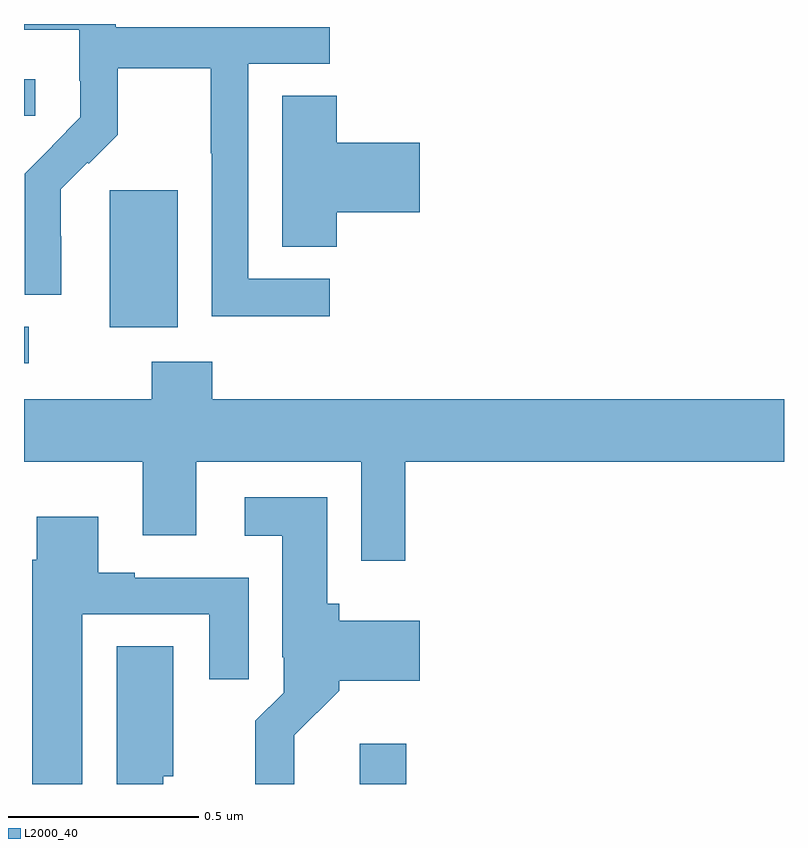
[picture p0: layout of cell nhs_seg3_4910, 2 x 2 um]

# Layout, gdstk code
import gdstk
lib = gdstk.Library(unit=1e-6, precision=1e-09)
def R(c, l, rs):  # rectangles x0, y0, x1, y1
    for r in rs: c.add(gdstk.rectangle(r[:2], r[2:], *l))
def P(c, l, *ps):  # polygons
    for p in ps: c.add(gdstk.Polygon(p, *l))
L2000_40 = (2000, 40)

nhs_seg3_4910 = lib.new_cell('nhs_seg3_4910')
R(nhs_seg3_4910, L2000_40, [(172.883,701.4,173.006,701.506), (172,702.507,172.012,702.603), (172.226,702.602,172.405,702.963), (172,703.158,172.03,703.255)])
P(nhs_seg3_4910, L2000_40, [(172.804,702.729),(172.59,702.729),(172.59,703.296),(172.804,703.296),(172.804,703.392),(172.242,703.392),(172.242,703.4),(172,703.4),(172,703.385),(172.146,703.385),(172.146,703.251),(172.148,703.251),(172.148,703.154),(172.074,703.08),(172.075,703.079),(172.002,703.006),(172.002,702.688),(172.098,702.688),(172.098,702.842),(172.097,702.842),(172.097,702.965),(172.167,703.035),(172.17,703.032),(172.247,703.109),(172.247,703.284),(172.492,703.284),(172.492,703.06),(172.494,703.06),(172.494,702.631),(172.804,702.631)],
  [(172.823,702.905),(173.041,702.905),(173.041,703.088),(172.823,703.088),(172.823,703.211),(172.679,703.211),(172.679,702.814),(172.823,702.814)],
  [(173.003,702.248),(174,702.248),(174,702.412),(172.496,702.412),(172.496,702.511),(172.336,702.511),(172.336,702.412),(172,702.412),(172,702.248),(172.313,702.248),(172.313,702.054),(172.453,702.054),(172.453,702.248),(172.887,702.248),(172.887,701.988),(173.003,701.988)],
  [(172.711,701.528),(172.829,701.646),(172.829,701.672),(173.041,701.672),(173.041,701.83),(172.829,701.83),(172.829,701.874),(172.798,701.874),(172.798,702.154),(172.581,702.154),(172.581,702.053),(172.679,702.053),(172.679,701.734),(172.683,701.734),(172.683,701.64),(172.609,701.566),(172.609,701.4),(172.711,701.4)],
  [(172.153,701.847),(172.487,701.847),(172.487,701.676),(172.591,701.676),(172.591,701.943),(172.291,701.943),(172.291,701.956),(172.195,701.956),(172.195,702.103),(172.034,702.103),(172.034,701.99),(172.022,701.99),(172.022,701.4),(172.153,701.4)],
  [(172.366,701.421),(172.393,701.421),(172.393,701.762),(172.244,701.762),(172.244,701.4),(172.366,701.4)])

lib.write_gds('nhs_seg3_4910.gds')
